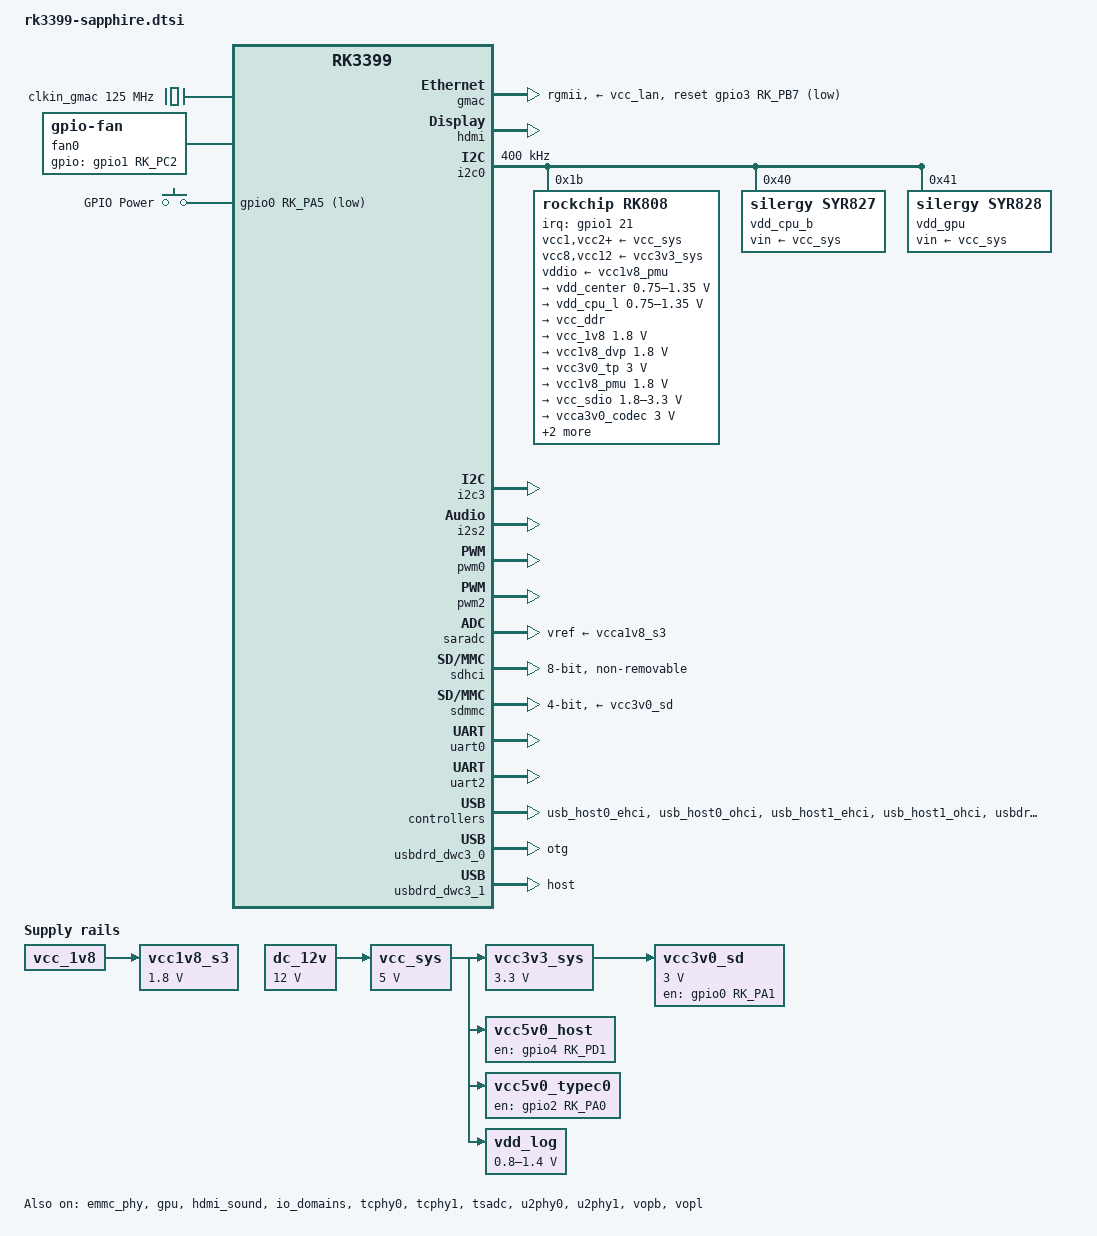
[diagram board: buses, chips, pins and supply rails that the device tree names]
// SPDX-License-Identifier: (GPL-2.0+ OR MIT)
/*
 * Copyright (c) 2017 Fuzhou Rockchip Electronics Co., Ltd.
 */

#include "dt-bindings/pwm/pwm.h"
#include "dt-bindings/input/input.h"
#include "rk3399.dtsi"
#include "rk3399-opp.dtsi"

/ {
	compatible = "rockchip,rk3399-sapphire", "rockchip,rk3399";

	chosen {
		stdout-path = "serial2:1500000n8";
	};

	clkin_gmac: external-gmac-clock {
		compatible = "fixed-clock";
		clock-frequency = <125000000>;
		clock-output-names = "clkin_gmac";
		#clock-cells = <0>;
	};

	dc_12v: dc-12v {
		compatible = "regulator-fixed";
		regulator-name = "dc_12v";
		regulator-always-on;
		regulator-boot-on;
		regulator-min-microvolt = <12000000>;
		regulator-max-microvolt = <12000000>;
	};

	/*
	 * The fan power supply comes from the baseboard.
	 * For the standalone Sapphire one option is to connect a wire
	 * from  R90030 DNP R0805 pin2  to  C90002 10uF C0805 pin1 (vcc_sys).
	 */
	fan0: gpio-fan {
		#cooling-cells = <2>;
		compatible = "gpio-fan";
		gpio-fan,speed-map = <0 0 3000 1>;
		gpios = <&gpio1 RK_PC2 GPIO_ACTIVE_HIGH>;
		status = "okay";
	};

	keys: gpio-keys {
		compatible = "gpio-keys";
		autorepeat;

		power {
			debounce-interval = <100>;
			gpios = <&gpio0 RK_PA5 GPIO_ACTIVE_LOW>;
			label = "GPIO Power";
			linux,code = <KEY_POWER>;
			linux,input-type = <1>;
			pinctrl-names = "default";
			pinctrl-0 = <&pwr_btn>;
			wakeup-source;
		};
	};

	/* switched by pmic_sleep */
	vcc1v8_s3: vcca1v8_s3: vcc1v8-s3 {
		compatible = "regulator-fixed";
		regulator-name = "vcc1v8_s3";
		regulator-always-on;
		regulator-boot-on;
		regulator-min-microvolt = <1800000>;
		regulator-max-microvolt = <1800000>;
		vin-supply = <&vcc_1v8>;
	};

	vcc3v0_sd: vcc3v0-sd {
		compatible = "regulator-fixed";
		enable-active-high;
		gpio = <&gpio0 RK_PA1 GPIO_ACTIVE_HIGH>;
		pinctrl-names = "default";
		pinctrl-0 = <&sdmmc0_pwr_h>;
		regulator-always-on;
		regulator-max-microvolt = <3000000>;
		regulator-min-microvolt = <3000000>;
		regulator-name = "vcc3v0_sd";
		vin-supply = <&vcc3v3_sys>;
	};

	vcc3v3_sys: vcc3v3-sys {
		compatible = "regulator-fixed";
		regulator-name = "vcc3v3_sys";
		regulator-always-on;
		regulator-boot-on;
		regulator-min-microvolt = <3300000>;
		regulator-max-microvolt = <3300000>;
		vin-supply = <&vcc_sys>;
	};

	vcc5v0_host: vcc5v0-host-regulator {
		compatible = "regulator-fixed";
		enable-active-high;
		gpio = <&gpio4 RK_PD1 GPIO_ACTIVE_HIGH>;
		pinctrl-names = "default";
		pinctrl-0 = <&vcc5v0_host_en>;
		regulator-name = "vcc5v0_host";
		regulator-always-on;
		vin-supply = <&vcc_sys>;
	};

	vcc5v0_typec0: vcc5v0-typec0-regulator {
		compatible = "regulator-fixed";
		enable-active-high;
		gpio = <&gpio2 RK_PA0 GPIO_ACTIVE_HIGH>;
		pinctrl-names = "default";
		pinctrl-0 = <&vcc5v0_typec0_en>;
		regulator-name = "vcc5v0_typec0";
		vin-supply = <&vcc_sys>;
	};

	vcc_sys: vcc-sys {
		compatible = "regulator-fixed";
		regulator-name = "vcc_sys";
		regulator-always-on;
		regulator-boot-on;
		regulator-min-microvolt = <5000000>;
		regulator-max-microvolt = <5000000>;
		vin-supply = <&dc_12v>;
	};

	vdd_log: vdd-log {
		compatible = "pwm-regulator";
		pwms = <&pwm2 0 25000 1>;
		regulator-name = "vdd_log";
		regulator-always-on;
		regulator-boot-on;
		regulator-min-microvolt = <800000>;
		regulator-max-microvolt = <1400000>;
		vin-supply = <&vcc_sys>;
	};
};

&cpu_l0 {
	cpu-supply = <&vdd_cpu_l>;
};

&cpu_l1 {
	cpu-supply = <&vdd_cpu_l>;
};

&cpu_l2 {
	cpu-supply = <&vdd_cpu_l>;
};

&cpu_l3 {
	cpu-supply = <&vdd_cpu_l>;
};

&cpu_b0 {
	cpu-supply = <&vdd_cpu_b>;
};

&cpu_b1 {
	cpu-supply = <&vdd_cpu_b>;
};

&cpu_thermal {
	trips {
		cpu_hot: cpu_hot {
			hysteresis = <10000>;
			temperature = <55000>;
			type = "active";
		};
	};

	cooling-maps {
		map2 {
			cooling-device =
				<&fan0 THERMAL_NO_LIMIT THERMAL_NO_LIMIT>;
			trip = <&cpu_hot>;
		};
	};
};

&emmc_phy {
	status = "okay";
};

&gmac {
	assigned-clocks = <&cru SCLK_RMII_SRC>;
	assigned-clock-parents = <&clkin_gmac>;
	clock_in_out = "input";
	phy-supply = <&vcc_lan>;
	phy-mode = "rgmii";
	pinctrl-names = "default";
	pinctrl-0 = <&rgmii_pins>;
	snps,reset-gpio = <&gpio3 RK_PB7 GPIO_ACTIVE_LOW>;
	snps,reset-active-low;
	snps,reset-delays-us = <0 10000 50000>;
	tx_delay = <0x28>;
	rx_delay = <0x11>;
	status = "okay";
};

&gpu {
	mali-supply = <&vdd_gpu>;
	status = "okay";
};

&hdmi {
	ddc-i2c-bus = <&i2c3>;
	status = "okay";
};

&hdmi_sound {
	status = "okay";
};

&i2c0 {
	clock-frequency = <400000>;
	i2c-scl-rising-time-ns = <168>;
	i2c-scl-falling-time-ns = <4>;
	status = "okay";

	rk808: pmic@1b {
		compatible = "rockchip,rk808";
		reg = <0x1b>;
		interrupt-parent = <&gpio1>;
		interrupts = <21 IRQ_TYPE_LEVEL_LOW>;
		#clock-cells = <1>;
		clock-output-names = "xin32k", "rk808-clkout2";
		pinctrl-names = "default";
		pinctrl-0 = <&pmic_int_l>;
		rockchip,system-power-controller;
		wakeup-source;

		vcc1-supply = <&vcc_sys>;
		vcc2-supply = <&vcc_sys>;
		vcc3-supply = <&vcc_sys>;
		vcc4-supply = <&vcc_sys>;
		vcc6-supply = <&vcc_sys>;
		vcc7-supply = <&vcc_sys>;
		vcc8-supply = <&vcc3v3_sys>;
		vcc9-supply = <&vcc_sys>;
		vcc10-supply = <&vcc_sys>;
		vcc11-supply = <&vcc_sys>;
		vcc12-supply = <&vcc3v3_sys>;
		vddio-supply = <&vcc1v8_pmu>;

		regulators {
			vdd_center: DCDC_REG1 {
				regulator-name = "vdd_center";
				regulator-always-on;
				regulator-boot-on;
				regulator-min-microvolt = <750000>;
				regulator-max-microvolt = <1350000>;
				regulator-ramp-delay = <6001>;
				regulator-state-mem {
					regulator-off-in-suspend;
				};
			};

			vdd_cpu_l: DCDC_REG2 {
				regulator-name = "vdd_cpu_l";
				regulator-always-on;
				regulator-boot-on;
				regulator-min-microvolt = <750000>;
				regulator-max-microvolt = <1350000>;
				regulator-ramp-delay = <6001>;
				regulator-state-mem {
					regulator-off-in-suspend;
				};
			};

			vcc_ddr: DCDC_REG3 {
				regulator-name = "vcc_ddr";
				regulator-always-on;
				regulator-boot-on;
				regulator-state-mem {
					regulator-on-in-suspend;
				};
			};

			vcc_1v8: DCDC_REG4 {
				regulator-name = "vcc_1v8";
				regulator-always-on;
				regulator-boot-on;
				regulator-min-microvolt = <1800000>;
				regulator-max-microvolt = <1800000>;
				regulator-state-mem {
					regulator-on-in-suspend;
					regulator-suspend-microvolt = <1800000>;
				};
			};

			vcc1v8_dvp: LDO_REG1 {
				regulator-name = "vcc1v8_dvp";
				regulator-always-on;
				regulator-boot-on;
				regulator-min-microvolt = <1800000>;
				regulator-max-microvolt = <1800000>;
				regulator-state-mem {
					regulator-off-in-suspend;
				};
			};

			vcc3v0_tp: LDO_REG2 {
				regulator-name = "vcc3v0_tp";
				regulator-always-on;
				regulator-boot-on;
				regulator-min-microvolt = <3000000>;
				regulator-max-microvolt = <3000000>;
				regulator-state-mem {
					regulator-off-in-suspend;
				};
			};

			vcc1v8_pmu: LDO_REG3 {
				regulator-name = "vcc1v8_pmu";
				regulator-always-on;
				regulator-boot-on;
				regulator-min-microvolt = <1800000>;
				regulator-max-microvolt = <1800000>;
				regulator-state-mem {
					regulator-on-in-suspend;
					regulator-suspend-microvolt = <1800000>;
				};
			};

			vcc_sdio: LDO_REG4 {
				regulator-name = "vcc_sdio";
				regulator-always-on;
				regulator-boot-on;
				regulator-min-microvolt = <1800000>;
				regulator-max-microvolt = <3300000>;
				regulator-state-mem {
					regulator-on-in-suspend;
					regulator-suspend-microvolt = <3000000>;
				};
			};

			vcca3v0_codec: LDO_REG5 {
				regulator-name = "vcca3v0_codec";
				regulator-always-on;
				regulator-boot-on;
				regulator-min-microvolt = <3000000>;
				regulator-max-microvolt = <3000000>;
				regulator-state-mem {
					regulator-off-in-suspend;
				};
			};

			vcc_1v5: LDO_REG6 {
				regulator-name = "vcc_1v5";
				regulator-always-on;
				regulator-boot-on;
				regulator-min-microvolt = <1500000>;
				regulator-max-microvolt = <1500000>;
				regulator-state-mem {
					regulator-on-in-suspend;
					regulator-suspend-microvolt = <1500000>;
				};
			};

			vcca1v8_codec: LDO_REG7 {
				regulator-name = "vcca1v8_codec";
				regulator-always-on;
				regulator-boot-on;
				regulator-min-microvolt = <1800000>;
				regulator-max-microvolt = <1800000>;
				regulator-state-mem {
					regulator-off-in-suspend;
				};
			};

			vcc_3v0: LDO_REG8 {
				regulator-name = "vcc_3v0";
				regulator-always-on;
				regulator-boot-on;
				regulator-min-microvolt = <3000000>;
				regulator-max-microvolt = <3000000>;
				regulator-state-mem {
					regulator-on-in-suspend;
					regulator-suspend-microvolt = <3000000>;
				};
			};

			vcc3v3_s3: vcc_lan: SWITCH_REG1 {
				regulator-name = "vcc3v3_s3";
				regulator-always-on;
				regulator-boot-on;
				regulator-state-mem {
					regulator-off-in-suspend;
				};
			};

			vcc3v3_s0: SWITCH_REG2 {
				regulator-name = "vcc3v3_s0";
				regulator-always-on;
				regulator-boot-on;
				regulator-state-mem {
					regulator-off-in-suspend;
				};
			};
		};
	};

	vdd_cpu_b: regulator@40 {
		compatible = "silergy,syr827";
		reg = <0x40>;
		fcs,suspend-voltage-selector = <1>;
		regulator-name = "vdd_cpu_b";
		regulator-min-microvolt = <712500>;
		regulator-max-microvolt = <1500000>;
		regulator-ramp-delay = <1000>;
		regulator-always-on;
		regulator-boot-on;
		vin-supply = <&vcc_sys>;

		regulator-state-mem {
			regulator-off-in-suspend;
		};
	};

	vdd_gpu: regulator@41 {
		compatible = "silergy,syr828";
		reg = <0x41>;
		fcs,suspend-voltage-selector = <1>;
		regulator-name = "vdd_gpu";
		regulator-min-microvolt = <712500>;
		regulator-max-microvolt = <1500000>;
		regulator-ramp-delay = <1000>;
		regulator-always-on;
		regulator-boot-on;
		vin-supply = <&vcc_sys>;

		regulator-state-mem {
			regulator-off-in-suspend;
		};
	};
};

&i2c3 {
	i2c-scl-rising-time-ns = <450>;
	i2c-scl-falling-time-ns = <15>;
	status = "okay";
};

&i2s2 {
	status = "okay";
};

&io_domains {
	status = "okay";

	bt656-supply = <&vcc_3v0>;
	audio-supply = <&vcca1v8_codec>;
	sdmmc-supply = <&vcc_sdio>;
	gpio1830-supply = <&vcc_3v0>;
};

&pmu_io_domains {
	pmu1830-supply = <&vcc_3v0>;
	status = "okay";
};

&pinctrl {
	buttons {
		pwr_btn: pwr-btn {
			rockchip,pins = <0 RK_PA5 RK_FUNC_GPIO &pcfg_pull_up>;
		};
	};

	fan {
		motor_pwr: motor-pwr {
			rockchip,pins =
				<1 RK_PC2 RK_FUNC_GPIO &pcfg_pull_none>;
		};
	};

	pmic {
		pmic_int_l: pmic-int-l {
			rockchip,pins =
				<1 RK_PC5 RK_FUNC_GPIO &pcfg_pull_up>;
		};

		vsel1_gpio: vsel1-gpio {
			rockchip,pins = <1 RK_PC1 RK_FUNC_GPIO &pcfg_pull_down>;
		};

		vsel2_gpio: vsel2-gpio {
			rockchip,pins = <1 RK_PB6 RK_FUNC_GPIO &pcfg_pull_down>;
		};
	};

	sd {
		sdmmc0_pwr_h: sdmmc0-pwr-h {
			rockchip,pins =
				<0 RK_PA1 RK_FUNC_GPIO &pcfg_pull_none>;
		};
	};

	usb2 {
		vcc5v0_host_en: vcc5v0-host-en {
			rockchip,pins =
				<4 RK_PD1 RK_FUNC_GPIO &pcfg_pull_none>;
		};
		vcc5v0_typec0_en: vcc5v0-typec0-en {
			rockchip,pins =
				<2 RK_PA0 RK_FUNC_GPIO &pcfg_pull_none>;
		};
	};
};

&pwm0 {
	status = "okay";
};

&pwm2 {
	status = "okay";
};

&saradc {
	vref-supply = <&vcca1v8_s3>;
	status = "okay";
};

&sdhci {
	bus-width = <8>;
	mmc-hs400-1_8v;
	mmc-hs400-enhanced-strobe;
	non-removable;
	status = "okay";
};

&sdmmc {
	broken-cd;
	bus-width = <4>;
	cap-mmc-highspeed;
	cap-sd-highspeed;
	clock-frequency = <150000000>;
	disable-wp;
	max-frequency = <150000000>;
	pinctrl-names = "default";
	pinctrl-0 = <&sdmmc_clk &sdmmc_cmd &sdmmc_cd &sdmmc_bus4>;
	vmmc-supply = <&vcc3v0_sd>;
	vqmmc-supply = <&vcc_sdio>;
	status = "okay";
};

&tcphy0 {
	status = "okay";
};

&tcphy1 {
	status = "okay";
};

&tsadc {
	/* tshut mode 0:CRU 1:GPIO */
	rockchip,hw-tshut-mode = <1>;
	/* tshut polarity 0:LOW 1:HIGH */
	rockchip,hw-tshut-polarity = <1>;
	status = "okay";
};

&u2phy0 {
	status = "okay";

	u2phy0_otg: otg-port {
		phy-supply = <&vcc5v0_typec0>;
		status = "okay";
	};

	u2phy0_host: host-port {
		phy-supply = <&vcc5v0_host>;
		status = "okay";
	};
};

&u2phy1 {
	status = "okay";

	u2phy1_otg: otg-port {
		status = "okay";
	};

	u2phy1_host: host-port {
		phy-supply = <&vcc5v0_host>;
		status = "okay";
	};
};

&uart0 {
	pinctrl-names = "default";
	pinctrl-0 = <&uart0_xfer &uart0_cts>;
	status = "okay";
};

&uart2 {
	status = "okay";
};

&usb_host0_ehci {
	status = "okay";
};

&usb_host0_ohci {
	status = "okay";
};

&usb_host1_ehci {
	status = "okay";
};

&usb_host1_ohci {
	status = "okay";
};

&usbdrd3_0 {
	status = "okay";
};

&usbdrd_dwc3_0 {
	status = "okay";
	dr_mode = "otg";
};

&usbdrd3_1 {
	status = "okay";
};

&usbdrd_dwc3_1 {
	status = "okay";
	dr_mode = "host";
};

&vopb {
	status = "okay";
};

&vopb_mmu {
	status = "okay";
};

&vopl {
	status = "okay";
};

&vopl_mmu {
	status = "okay";
};
